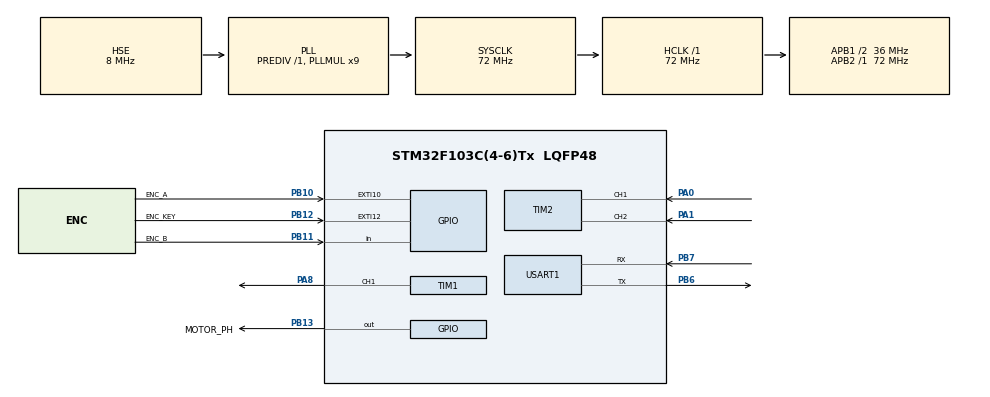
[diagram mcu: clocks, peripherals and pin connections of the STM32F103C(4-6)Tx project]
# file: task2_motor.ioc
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Mcu.Family=STM32F1
Mcu.Name=STM32F103C(4-6)Tx
Mcu.Package=LQFP48
NVIC.EXTI15_10_IRQn=true\:0\:0\:false\:false\:true\:true\:true\:true
NVIC.PriorityGroup=NVIC_PRIORITYGROUP_4
NVIC.TIM3_IRQn=true\:1\:0\:true\:false\:true\:true\:true\:true
NVIC.USART1_IRQn=true\:1\:0\:true\:false\:true\:true\:true\:true
PA0-WKUP.Signal=S_TIM2_CH1_ETR
PA1.Signal=S_TIM2_CH2
PA13.Mode=Serial_Wire
PA13.Signal=SYS_JTMS-SWDIO
PA14.Mode=Serial_Wire
PA14.Signal=SYS_JTCK-SWCLK
PA8.Signal=S_TIM1_CH1
PB10.GPIO_Label=ENC_A
PB10.GPIO_ModeDefaultEXTI=GPIO_MODE_IT_FALLING
PB10.GPIO_PuPd=GPIO_PULLUP
PB10.Signal=GPXTI10
PB11.GPIO_Label=ENC_B
PB11.GPIO_PuPd=GPIO_PULLUP
PB11.Signal=GPIO_Input
PB12.GPIO_Label=ENC_KEY
PB12.GPIO_ModeDefaultEXTI=GPIO_MODE_IT_FALLING
PB12.GPIO_PuPd=GPIO_PULLUP
PB12.Signal=GPXTI12
PB13.GPIO_Label=MOTOR_PH
PB13.Signal=GPIO_Output
PB6.Mode=Asynchronous
PB6.Signal=USART1_TX
PB7.Mode=Asynchronous
PB7.Signal=USART1_RX
PD0-OSC_IN.Mode=HSE-External-Oscillator
PD0-OSC_IN.Signal=RCC_OSC_IN
PD1-OSC_OUT.Mode=HSE-External-Oscillator
PD1-OSC_OUT.Signal=RCC_OSC_OUT
ProjectManager.HeapSize=0x200
ProjectManager.StackSize=0x400
ProjectManager.TargetToolchain=MDK-ARM V5.32
RCC.AHBFreq_Value=72000000
RCC.APB1CLKDivider=RCC_HCLK_DIV2
RCC.APB1Freq_Value=36000000
RCC.APB1TimFreq_Value=72000000
RCC.APB2Freq_Value=72000000
RCC.APB2TimFreq_Value=72000000
RCC.HCLKFreq_Value=72000000
RCC.PLLMUL=RCC_PLL_MUL9
RCC.PLLSourceVirtual=RCC_PLLSOURCE_HSE
RCC.SYSCLKFreq_VALUE=72000000
RCC.SYSCLKSource=RCC_SYSCLKSOURCE_PLLCLK
RCC.USBFreq_Value=72000000
SH.S_TIM1_CH1.0=TIM1_CH1,PWM Generation1 CH1
SH.S_TIM2_CH1_ETR.0=TIM2_CH1,Encoder_Interface
SH.S_TIM2_CH2.0=TIM2_CH2,Encoder_Interface
TIM1.Channel-PWM\ Generation1\ CH1=TIM_CHANNEL_1
TIM1.Period=3599
TIM1.Prescaler=0
TIM2.EncoderMode=TIM_ENCODERMODE_TI12
TIM3.Period=19999
TIM3.Prescaler=144-1
USART1.VirtualMode=VM_ASYNC
VP_TIM1_VS_ClockSourceINT.Mode=Internal
VP_TIM3_VS_ClockSourceINT.Mode=Internal
board=custom

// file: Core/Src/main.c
/* USER CODE BEGIN Header */
/**
 ******************************************************************************
 * @file           : main.c
 * @brief          : Main program body
 ******************************************************************************
 * @attention
 *
 * Copyright (c) 2026 STMicroelectronics.
 * All rights reserved.
 *
 * This software is licensed under terms that can be found in the LICENSE file
 * in the root directory of this software component.
 * If no LICENSE file comes with this software, it is provided AS-IS.
 *
 ******************************************************************************
 */
/* USER CODE END Header */
#include "main.h"
#include "tim.h"
#include "usart.h"
#include "gpio.h"

/* USER CODE BEGIN Includes */
#include <stdlib.h>
#include <stdio.h>
#include <math.h>
/* USER CODE END Includes */

/* USER CODE BEGIN PD */
#define PWM_MAX 3599.0f
#define INTEGRAL_OUT_MAX 100.0f
#define ENCODER_COUNTS_PER_TURN 1456.0f
#define SPEED_FILTER_ALPHA 0.3f

/* USER CODE END PD */

/* USER CODE BEGIN PV */
uint8_t receiveData;
volatile uint8_t uart_event = 0;

char commandBuffer[32];
uint8_t commandIndex = 0;

char controlMode = 0;
float targetValue = 0.0f;
volatile uint8_t control_event = 0;
uint32_t controlCycleCount = 0;

uint16_t encoderCurrent = 0, encoderPrevious = 0;
int16_t encoderDelta = 0;
int32_t encoderTotal = 0;
float rawSpeedRPM = 0.0f;
float actualSpeedRPM = 0.0f, relativeTurns = 0.0f;

char vofaBuffer[64];
int vofaLength = 0;

float Target, Actual, Out;
float Kp = 0.45f, Ki = 0.055f, Kd = 0.1f;
float Error0, Error1, ErrorInt = 0.0f;

/* 位置环以编码器计数为误差单位，参数从0开始调节 */
float positionKp = 0.10f, positionKi = 0.003f, positionKd = 0.15f;
float positionError0 = 0.0f, positionError1 = 0.0f, positionErrorInt = 0.0f;

volatile int32_t knobCount = 0;
volatile uint8_t tuneMode = 0; // 0表示比例参数，1表示积分参数

int32_t lastKnobCount = 0;

/* USER CODE END PV */

void SystemClock_Config(void);
/* USER CODE BEGIN PFP */
void Motor_SetOutput(float output);

/* USER CODE END PFP */

int main(void)
{

  /* MCU Configuration--------------------------------------------------------*/

  /* Reset of all peripherals, Initializes the Flash interface and the Systick. */
  HAL_Init();

  /* Configure the system clock */
  SystemClock_Config();

  /* Initialize all configured peripherals */
  MX_GPIO_Init();
  MX_USART1_UART_Init();
  MX_TIM3_Init();
  MX_TIM2_Init();
  MX_TIM1_Init();
  /* USER CODE BEGIN 2 */
  HAL_UART_Receive_IT(&huart1, &receiveData, 1);
  HAL_TIM_Base_Start_IT(&htim3);
  HAL_TIM_Encoder_Start(&htim2, TIM_CHANNEL_ALL);
  HAL_TIM_PWM_Start(&htim1, TIM_CHANNEL_1);
  __HAL_TIM_SET_COMPARE(&htim1, TIM_CHANNEL_1, 0);

  /* USER CODE END 2 */

  /* Infinite loop */
  /* USER CODE BEGIN WHILE */
  while (1)
  {
    if (knobCount != lastKnobCount)
    {
      int32_t knobDelta = knobCount - lastKnobCount;
      lastKnobCount = knobCount;

      if (controlMode == 'P')
      {
        if (tuneMode == 0)
        {
          /* 位置模式：每格调整positionKp 0.001 */
          positionKp += (float)knobDelta * 0.001f;

          if (positionKp < 0.0f)
          {
            positionKp = 0.0f;
          }
          else if (positionKp > 0.2f)
          {
            positionKp = 0.2f;
          }
        }
        else
        {
          /* 位置模式：每格调整positionKi 0.0005 */
          positionKi += (float)knobDelta * 0.0005f;

          if (positionKi < 0.0f)
          {
            positionKi = 0.0f;
          }
          else if (positionKi > 0.1f)
          {
            positionKi = 0.1f;
          }
        }
      }
      else
      {
        if (tuneMode == 0)
        {
          /* 速度模式：每格调整Kp 0.01 */
          Kp += (float)knobDelta * 0.01f;

          if (Kp < 0.0f)
          {
            Kp = 0.0f;
          }
          else if (Kp > 5.0f)
          {
            Kp = 5.0f;
          }
        }
        else
        {
          /* 速度模式：每格调整Ki 0.001 */
          Ki += (float)knobDelta * 0.001f;

          if (Ki < 0.0f)
          {
            Ki = 0.0f;
          }
          else if (Ki > 1.0f)
          {
            Ki = 1.0f;
          }
        }
      }
    }

    // 判断中断接受是否发生
    if (uart_event == 1)
    {
      // 判断是速度还是位置指令
      if (commandBuffer[0] == 'S' && commandBuffer[1] == ',')
      {
        controlMode = 'S';
        // 将字符串转换为浮点数，从第三个字符开始
        targetValue = (float)atof(&commandBuffer[2]);
        ErrorInt = 0.0f;
        Error0 = 0.0f;
        Error1 = 0.0f;
      }
      else if (commandBuffer[0] == 'P' && commandBuffer[1] == ',')
      {
        controlMode = 'P';
        targetValue = (float)atof(&commandBuffer[2]);
        positionError0 = targetValue * ENCODER_COUNTS_PER_TURN - (float)encoderTotal;
        positionError1 = positionError0;
        positionErrorInt = 0.0f;
      }
      uart_event = 0;
    }

    // 判断计时器中断是否发生
    if (control_event == 1)
    {
      control_event = 0;
      // 读取编码器数值
      encoderCurrent = __HAL_TIM_GET_COUNTER(&htim2);
      // 计算编码器差值（用来计算速度）
      encoderDelta = (int16_t)(encoderCurrent - encoderPrevious);
      encoderPrevious = encoderCurrent;
      // 计算编码器总数值（用来计算位置）
      encoderTotal += encoderDelta;
      // 计算实际速度和相对转数
      // 13个脉冲/圈 × 28减速比 × 4倍频，40ms = 1/1500分钟
      rawSpeedRPM = (float)encoderDelta * 1500.0f / ENCODER_COUNTS_PER_TURN;

      /* 一阶低通滤波：30%采用本次数据，70%保留上次结果 */
      actualSpeedRPM += SPEED_FILTER_ALPHA * (rawSpeedRPM - actualSpeedRPM);

      relativeTurns = (float)encoderTotal / ENCODER_COUNTS_PER_TURN;

      // 以下为速度PI算法
      if (controlMode == 'S')
      {
        if(fabsf(Target)<115.0f)
        {
          Kp = 0.20f;
		  Ki = 0.025f;

        }
		else
		{
			Kp = 0.45f;
			Ki = 0.055f;
		}
        Target = targetValue;
        Actual = actualSpeedRPM;

        /* 目标速度为0时立即清除积分并停止电机 */
        if (Target == 0.0f)
        {
          Error0 = 0.0f;
          Error1 = 0.0f;
          ErrorInt = 0.0f;
          Out = 0.0f;
          Motor_SetOutput(0.0f);
        }
        else
        {
          Error1 = Error0;
          Error0 = Target - Actual;

          /* Ki不为0时才进行误差积分 */
          if (Ki != 0.0f)
          {
            ErrorInt += Error0;

            /* 限制积分项 Ki * ErrorInt 在-100～100之间 */
            if (ErrorInt > INTEGRAL_OUT_MAX / Ki)
            {
              ErrorInt = INTEGRAL_OUT_MAX / Ki;
            }
            else if (ErrorInt < -INTEGRAL_OUT_MAX / Ki)
            {
              ErrorInt = -INTEGRAL_OUT_MAX / Ki;
            }
          }
          else
          {
            ErrorInt = 0.0f;
          }

         if (Ki != 0.0f && fabsf(Error0) < 100.0f)
        {
          ErrorInt += Error0;
        }
        else
        {
          ErrorInt = 0.0f;
        }

          /* 位置式PI */
          Out = Kp * Error0 + Ki * ErrorInt + Kd * (Error0 - Error1);

          /* 输出限制为-100～100 */
          if (Out > 100.0f)
          {
            Out = 100.0f;
          }
          else if (Out < -100.0f)
          {
            Out = -100.0f;
          }

          Motor_SetOutput(Out);
        }
      }
      // 以下为位置PD算法
      else if (controlMode == 'P')
      {
        /* VOFA仍以圈为单位显示目标位置和实际位置 */
        Target = targetValue;
        Actual = relativeTurns;

        /* 保存上一次误差，以编码器计数为单位计算本次误差 */
        positionError1 = positionError0;
        positionError0 = Target * ENCODER_COUNTS_PER_TURN - (float)encoderTotal;
        /* 仅在误差小于100个计数且Ki不为0时积分 */
        if (positionKi != 0.0f && fabsf(positionError0) < 100.0f)
        {
          positionErrorInt += positionError0;
        }
        else
        {
          positionErrorInt = 0.0f;
        }

        /* 带积分分离的位置式PID */
        Out = positionKp * positionError0 + positionKi * positionErrorInt +
              positionKd * (positionError0 - positionError1);

        /* 将位置环输出限制为-100～100 */
        if (Out > 100.0f)
        {
          Out = 100.0f;
        }
        else if (Out < -100.0f)
        {
          Out = -100.0f;
        }

        /* Out的正负控制方向，绝对值控制PWM占空比 */
        Motor_SetOutput(Out);
      }

      controlCycleCount++;
      if (controlMode == 'P')
      {
        /* 位置模式：最后两路显示positionKp和positionKi */
        vofaLength = sprintf(vofaBuffer, "%.2f,%.2f,%.2f,%.4f,%.4f\n", Target, Actual, Out,
                             positionKp, positionKi);
      }
      else
      {
        /* 速度模式：最后两路显示Kp和Ki */
        vofaLength = sprintf(vofaBuffer, "%.2f,%.2f,%.2f,%.2f,%.3f\n", Target, Actual, Out, Kp, Ki);
      }
      HAL_UART_Transmit(&huart1, (uint8_t *)vofaBuffer, (uint16_t)vofaLength, 10);
    }

    /* USER CODE END WHILE */

  }
}

void SystemClock_Config(void)
{
  RCC_OscInitTypeDef RCC_OscInitStruct = {0};
  RCC_ClkInitTypeDef RCC_ClkInitStruct = {0};

  /** Initializes the RCC Oscillators according to the specified parameters
   * in the RCC_OscInitTypeDef structure.
   */
  RCC_OscInitStruct.OscillatorType = RCC_OSCILLATORTYPE_HSE;
  RCC_OscInitStruct.HSEState = RCC_HSE_ON;
  RCC_OscInitStruct.HSEPredivValue = RCC_HSE_PREDIV_DIV1;
  RCC_OscInitStruct.HSIState = RCC_HSI_ON;
  RCC_OscInitStruct.PLL.PLLState = RCC_PLL_ON;
  RCC_OscInitStruct.PLL.PLLSource = RCC_PLLSOURCE_HSE;
  RCC_OscInitStruct.PLL.PLLMUL = RCC_PLL_MUL9;
  if (HAL_RCC_OscConfig(&RCC_OscInitStruct) != HAL_OK)
  {
    Error_Handler();
  }

  /** Initializes the CPU, AHB and APB buses clocks
   */
  RCC_ClkInitStruct.ClockType =
      RCC_CLOCKTYPE_HCLK | RCC_CLOCKTYPE_SYSCLK | RCC_CLOCKTYPE_PCLK1 | RCC_CLOCKTYPE_PCLK2;
  RCC_ClkInitStruct.SYSCLKSource = RCC_SYSCLKSOURCE_PLLCLK;
  RCC_ClkInitStruct.AHBCLKDivider = RCC_SYSCLK_DIV1;
  RCC_ClkInitStruct.APB1CLKDivider = RCC_HCLK_DIV2;
  RCC_ClkInitStruct.APB2CLKDivider = RCC_HCLK_DIV1;

  if (HAL_RCC_ClockConfig(&RCC_ClkInitStruct, FLASH_LATENCY_2) != HAL_OK)
  {
    Error_Handler();
  }
}

/* USER CODE BEGIN 4 */
void Motor_SetOutput(float output)
{
  uint32_t compareValue;

  /* 将PID输出限制在-100～100 */
  if (output > 100.0f)
  {
    output = 100.0f;
  }
  else if (output < -100.0f)
  {
    output = -100.0f;
  }

  /*
   * 每次设置方向前先关闭PWM。
   * 这样可以避免电机正在输出时直接切换PH方向。
   */
  __HAL_TIM_SET_COMPARE(&htim1, TIM_CHANNEL_1, 0);

  if (output > 0.0f)
  {
    /* 暂时规定PH低电平为正转 */
    HAL_GPIO_WritePin(MOTOR_PH_GPIO_Port, MOTOR_PH_Pin, GPIO_PIN_RESET);
  }
  else if (output < 0.0f)
  {
    /* PH高电平为反转 */
    HAL_GPIO_WritePin(MOTOR_PH_GPIO_Port, MOTOR_PH_Pin, GPIO_PIN_SET);

    /* PWM只需要输出大小，所以把负数变成正数 */
    output = -output;
  }
  else
  {
    /* output等于0时，CCR保持为0，电机停止 */
    return;
  }

  /* 将0～100映射为0～3599 */
  compareValue = (uint32_t)(output * PWM_MAX / 100.0f);

  /* 将换算后的比较值写入TIM1通道1 */
  __HAL_TIM_SET_COMPARE(&htim1, TIM_CHANNEL_1, compareValue);
}
// 接受数据中断函数重定义
void HAL_UART_RxCpltCallback(UART_HandleTypeDef *huart)
{
  // 判断是否为USART1的中断（实则只设置了usart1）
  if (huart->Instance == USART1)
  {
    // 判断接收到的数据是否为回车或换行符
    if (receiveData != '\r' && receiveData != '\n')
    {
      // 判断是否超出范围，如果没有则写入
      if (commandIndex < 31)
      {
        commandBuffer[commandIndex] = receiveData;
        commandIndex++;
      }
    }
    // 如果接收到回车符，则将命令字符串结束符置为'\0'，并将命令索引重置为0，表示接收完成
    else if (receiveData == '\n')
    {
      commandBuffer[commandIndex] = '\0';
      commandIndex = 0;
      uart_event = 1;
    }
    // 重新启动中断接受
    HAL_UART_Receive_IT(&huart1, &receiveData, 1);
  }
}
// 定时器计数中断的重定义（40ms一次）
void HAL_TIM_PeriodElapsedCallback(TIM_HandleTypeDef *htim)
{
  if (htim->Instance == TIM3)
  {
    control_event = 1;
  }
}

void HAL_GPIO_EXTI_Callback(uint16_t GPIO_Pin)
{
  static uint32_t encoderLastTick = 0;
  static uint32_t keyLastTick = 0;
  uint32_t nowTick = HAL_GetTick();

  // 旋转编码器A相产生下降沿
  if (GPIO_Pin == ENC_A_Pin)
  {
    // 简单消抖
    if (nowTick - encoderLastTick >= 5)
    {
      encoderLastTick = nowTick;

      // 读取B相判断方向
      if (HAL_GPIO_ReadPin(ENC_B_GPIO_Port, ENC_B_Pin) == GPIO_PIN_SET)
      {
        knobCount++;
      }
      else
      {
        knobCount--;
      }
    }
  }
  // 按下旋钮
  else if (GPIO_Pin == ENC_KEY_Pin)
  {
    // 按键消抖
    if (nowTick - keyLastTick >= 200)
    {
      keyLastTick = nowTick;
      tuneMode ^= 1;
    }
  }
}
/* USER CODE END 4 */

void Error_Handler(void)
{
  __disable_irq();
  while (1)
  {
  }
}
